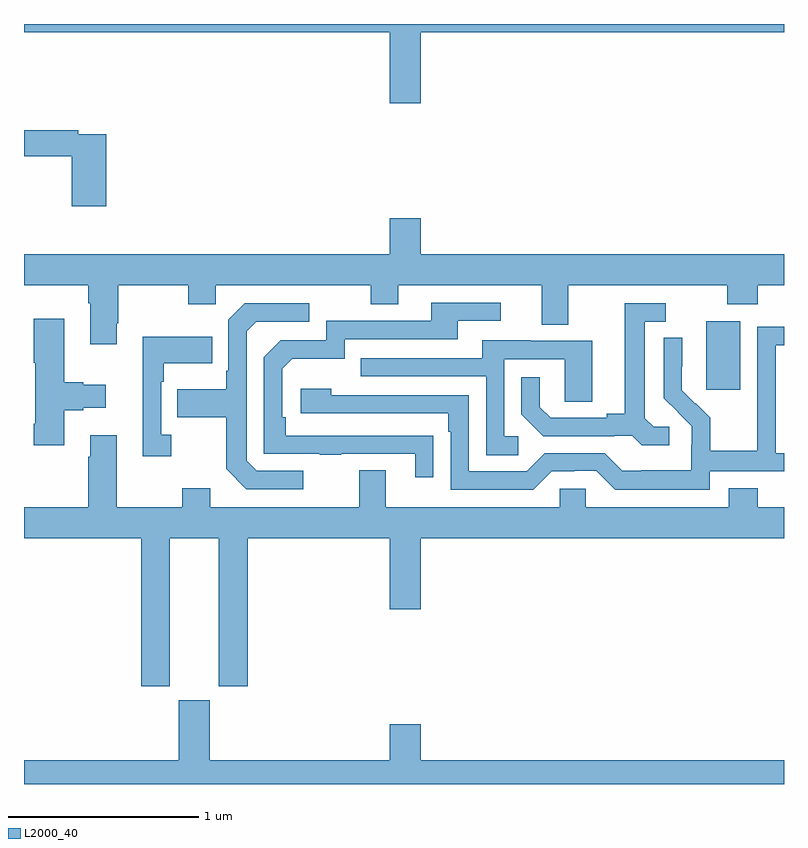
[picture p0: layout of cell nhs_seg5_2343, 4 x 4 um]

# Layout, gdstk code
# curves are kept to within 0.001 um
import gdstk
lib = gdstk.Library(unit=1e-6, precision=1e-09)
def R(c, l, rs):  # rectangles x0, y0, x1, y1
    for r in rs: c.add(gdstk.rectangle(r[:2], r[2:], *l))
def P(c, l, *ps):  # polygons
    for p in ps: c.add(gdstk.Polygon(p, *l))
L2000_40 = (2000, 40)

nhs_seg5_2343 = lib.new_cell('nhs_seg5_2343')
R(nhs_seg5_2343, L2000_40, [(250.592,858.873,250.771,859.234)])
P(nhs_seg5_2343, L2000_40, [(249.088,860.756),(251,860.756),(251,860.799),(247,860.799),(247,860.756),(248.924,860.756),(248.924,860.382),(249.088,860.382)],
  [(247.433,860.22),(247.286,860.22),(247.286,860.24),(247,860.24),(247,860.104),(247.25,860.104),(247.25,859.839),(247.433,859.839)],
  [(247.489,859.225),(247.497,859.225),(247.497,859.424),(247.864,859.424),(247.864,859.325),(248.01,859.325),(248.01,859.424),(248.824,859.424),(248.824,859.325),(248.971,859.325),(248.971,859.424),(249.725,859.424),(249.725,859.216),(249.865,859.216),(249.865,859.424),(250.702,859.424),(250.702,859.325),(250.862,859.325),(250.862,859.424),(251,859.424),(251,859.588),(249.088,859.588),(249.088,859.777),(248.924,859.777),(248.924,859.588),(247,859.588),(247,859.424),(247.337,859.424),(247.337,859.328),(247.349,859.328),(247.349,859.113),(247.489,859.113)],
  [(249.155,858.632),(248.378,858.633),(248.378,858.73),(248.358,858.73),(248.358,858.984),(248.411,859.037),(248.688,859.037),(248.688,859.14),(249.283,859.14),(249.283,859.236),(249.508,859.236),(249.508,859.332),(249.143,859.332),(249.143,859.236),(248.592,859.236),(248.592,859.134),(248.352,859.134),(248.262,859.044),(248.262,858.537),(248.557,858.537),(248.557,858.532),(248.669,858.532),(248.669,858.537),(249.059,858.537),(249.059,858.414),(249.155,858.414)],
  [(248.47,858.447),(248.226,858.447),(248.172,858.501),(248.172,859.182),(248.223,859.233),(248.5,859.233),(248.5,859.329),(248.163,859.329),(248.076,859.242),(248.076,858.973),(248.064,858.973),(248.064,858.877),(247.807,858.877),(247.807,858.73),(248.064,858.73),(248.064,858.457),(248.169,858.351),(248.47,858.351)],
  [(250.396,858.678),(250.314,858.678),(250.267,858.725),(250.267,859.233),(250.378,859.233),(250.378,859.329),(250.163,859.329),(250.163,858.749),(250.067,858.749),(250.067,858.726),(249.772,858.726),(249.715,858.783),(249.715,858.94),(249.618,858.94),(249.618,858.746),(249.734,858.63),(250.106,858.63),(250.106,858.633),(250.2,858.633),(250.252,858.581),(250.396,858.581)],
  [(247.213,858.767),(247.313,858.767),(247.313,858.779),(247.429,858.779),(247.429,858.901),(247.313,858.901),(247.313,858.914),(247.213,858.914),(247.213,859.249),(247.051,859.249),(247.051,859.015),(247.058,859.015),(247.058,858.694),(247.051,858.694),(247.051,858.582),(247.213,858.582)],
  [(250.608,858.444),(251,858.444),(251,858.54),(250.956,858.54),(250.956,859.107),(251,859.107),(251,859.206),(250.86,859.206),(250.86,858.776),(250.858,858.776),(250.858,858.553),(250.613,858.553),(250.613,858.727),(250.536,858.804),(250.533,858.801),(250.463,858.872),(250.464,859.148),(250.368,859.148),(250.368,858.83),(250.514,858.682),(250.514,858.585),(250.512,858.585),(250.512,858.451),(250.249,858.451),(250.249,858.447),(250.149,858.447),(250.056,858.54),(249.741,858.54),(249.645,858.444),(249.342,858.444),(249.342,858.846),(248.618,858.846),(248.618,858.88),(248.457,858.88),(248.457,858.75),(249.233,858.75),(249.233,858.653),(249.246,858.653),(249.246,858.348),(249.681,858.348),(249.777,858.444),(249.896,858.444),(249.896,858.447),(250.011,858.447),(250.111,858.347),(250.608,858.347)],
  [(247.774,858.638),(247.722,858.638),(247.722,858.917),(247.735,858.917),(247.735,859.013),(247.991,859.013),(247.991,859.153),(247.625,859.153),(247.625,858.525),(247.774,858.525)],
  [(249.601,858.63),(249.528,858.63),(249.528,859.035),(249.846,859.035),(249.846,858.811),(249.991,858.811),(249.991,859.131),(249.667,859.131),(249.667,859.135),(249.413,859.135),(249.413,859.041),(248.773,859.041),(248.773,858.945),(249.432,858.945),(249.432,858.529),(249.601,858.529)],
  [(247.768,858.092),(248.024,858.092),(248.024,857.313),(248.177,857.313),(248.177,858.092),(248.924,858.092),(248.924,857.718),(249.088,857.718),(249.088,858.092),(251,858.092),(251,858.256),(250.862,858.256),(250.862,858.355),(250.709,858.355),(250.709,858.256),(249.957,858.256),(249.957,858.354),(249.819,858.354),(249.819,858.256),(248.905,858.256),(248.905,858.451),(248.765,858.451),(248.765,858.256),(247.981,858.256),(247.981,858.355),(247.834,858.355),(247.834,858.256),(247.489,858.256),(247.489,858.634),(247.349,858.634),(247.349,858.521),(247.337,858.521),(247.337,858.256),(247,858.256),(247,858.092),(247.616,858.092),(247.616,857.313),(247.768,857.313)],
  [(251,856.924),(249.088,856.924),(249.088,857.113),(248.924,857.113),(248.924,856.924),(247.978,856.924),(247.978,857.241),(247.814,857.241),(247.814,856.924),(247,856.924),(247,856.799),(251,856.799)])

lib.write_gds('nhs_seg5_2343.gds')
